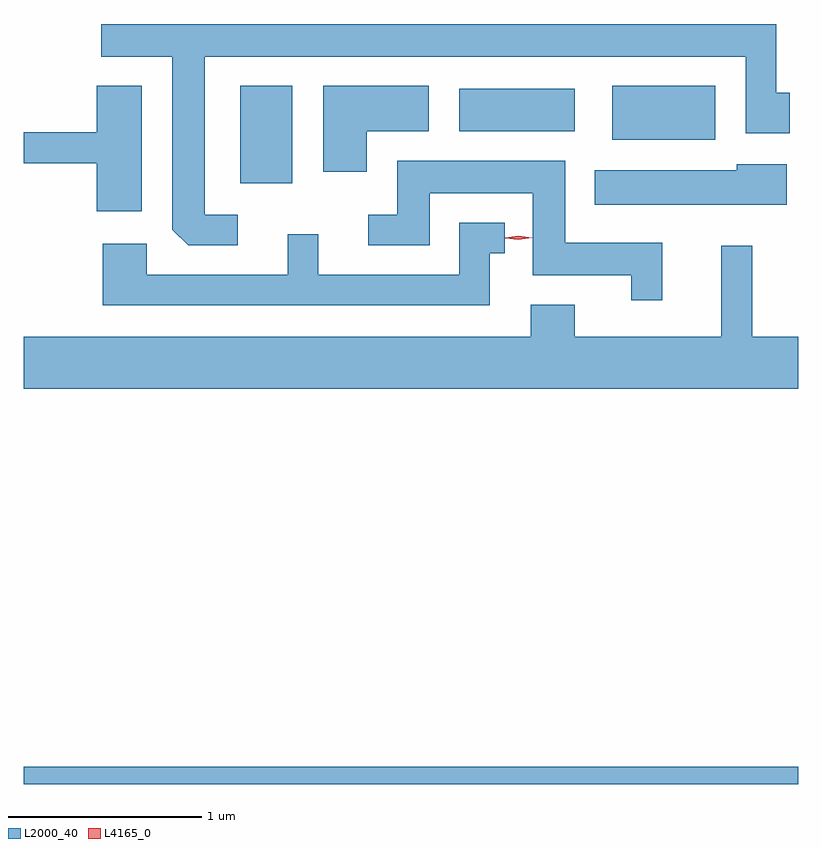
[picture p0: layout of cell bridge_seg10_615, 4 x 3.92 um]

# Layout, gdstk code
import gdstk
lib = gdstk.Library(unit=1e-6, precision=1e-09)
def R(c, l, rs):  # rectangles x0, y0, x1, y1
    for r in rs: c.add(gdstk.rectangle(r[:2], r[2:], *l))
def P(c, l, *ps):  # polygons
    for p in ps: c.add(gdstk.Polygon(p, *l))
L2000_40 = (2000, 40)
L4165_0 = (4165, 0)

bridge_seg10_615 = lib.new_cell('bridge_seg10_615')
R(bridge_seg10_615, L2000_40, [(681.113,2107.435,685.113,2107.524), (682.231,2110.536,682.499,2111.039), (684.151,2110.761,684.684,2111.039), (683.361,2110.806,683.959,2111.024)])
P(bridge_seg10_615, L2000_40, [(682.218,2110.374),(682.049,2110.374),(682.049,2111.191),(684.841,2111.191),(684.841,2110.796),(685.069,2110.796),(685.069,2111.004),(684.999,2111.004),(684.999,2111.359),(681.513,2111.359),(681.513,2111.191),(681.881,2111.191),(681.881,2110.297),(681.962,2110.216),(682.218,2110.216)],
  [(681.724,2111.039),(681.491,2111.039),(681.491,2110.799),(681.113,2110.799),(681.113,2110.641),(681.491,2110.641),(681.491,2110.391),(681.724,2110.391)],
  [(682.884,2110.806),(683.204,2110.806),(683.204,2111.039),(682.661,2111.039),(682.661,2110.596),(682.884,2110.596)],
  [(684.409,2110.229),(683.909,2110.229),(683.909,2110.654),(683.041,2110.654),(683.041,2110.374),(682.893,2110.374),(682.893,2110.216),(683.209,2110.216),(683.209,2110.486),(683.741,2110.486),(683.741,2110.061),(684.251,2110.061),(684.251,2109.933),(684.409,2109.933)],
  [(685.054,2110.634),(684.796,2110.634),(684.796,2110.604),(684.061,2110.604),(684.061,2110.426),(685.054,2110.426)],
  [(683.519,2110.176),(683.598,2110.176),(683.598,2110.334),(683.361,2110.334),(683.361,2110.064),(682.634,2110.064),(682.634,2110.273),(682.476,2110.273),(682.476,2110.064),(681.749,2110.064),(681.749,2110.224),(681.521,2110.224),(681.521,2109.906),(683.519,2109.906)],
  [(685.113,2109.744),(684.874,2109.744),(684.874,2110.213),(684.716,2110.213),(684.716,2109.744),(683.959,2109.744),(683.959,2109.909),(683.731,2109.909),(683.731,2109.744),(681.113,2109.744),(681.113,2109.476),(685.113,2109.476)])
P(bridge_seg10_615, L4165_0, [(683.668,2110.245),(683.599,2110.254),(683.599,2110.255),(683.599,2110.256),(683.668,2110.265),(683.738,2110.256),(683.738,2110.256),(683.738,2110.255)])

lib.write_gds('bridge_seg10_615.gds')
